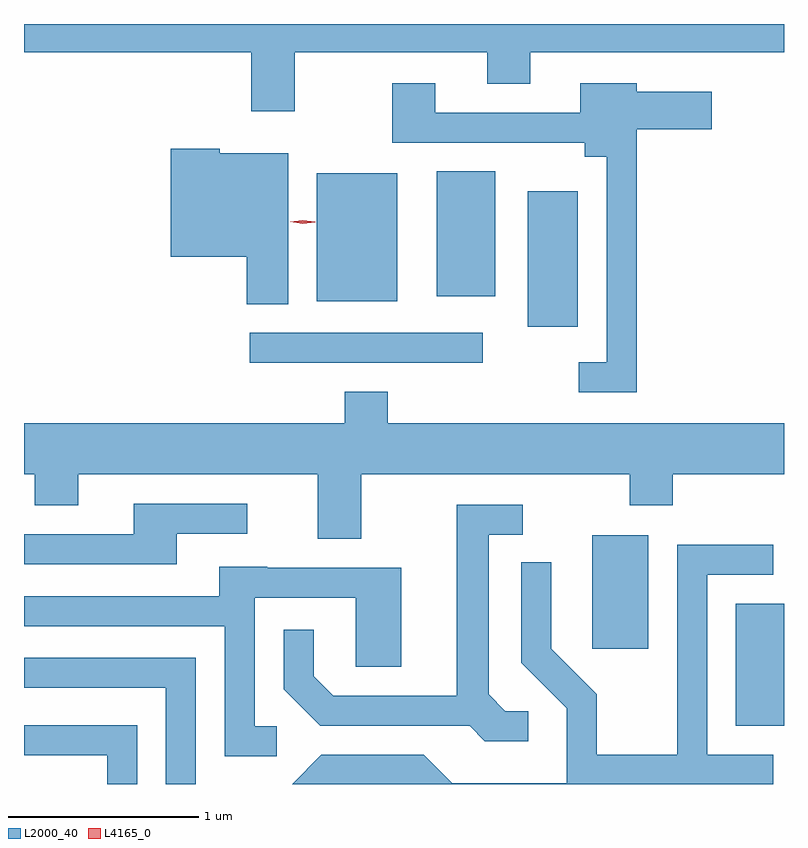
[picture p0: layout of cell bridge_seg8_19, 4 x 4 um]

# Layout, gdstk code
import gdstk
lib = gdstk.Library(unit=1e-6, precision=1e-09)
def R(c, l, rs):  # rectangles x0, y0, x1, y1
    for r in rs: c.add(gdstk.rectangle(r[:2], r[2:], *l))
def P(c, l, *ps):  # polygons
    for p in ps: c.add(gdstk.Polygon(p, *l))
L2000_40 = (2000, 40)
L4165_0 = (4165, 0)

bridge_seg8_19 = lib.new_cell('bridge_seg8_19')
R(bridge_seg8_19, L2000_40, [(1805.911,1875.051,1806.164,1875.694), (1805.156,1875.456,1805.449,1876.054), (1803.353,1876.961,1804.578,1877.119), (1804.816,1877.151,1805.079,1877.864), (1803.706,1877.286,1804.129,1877.959), (1804.336,1877.311,1804.644,1877.969)])
P(bridge_seg8_19, L2000_40, [(1803.589,1878.596),(1804.601,1878.596),(1804.601,1878.431),(1804.829,1878.431),(1804.829,1878.596),(1806.164,1878.596),(1806.164,1878.745),(1802.164,1878.745),(1802.164,1878.596),(1803.361,1878.596),(1803.361,1878.286),(1803.589,1878.286)],
  [(1805.389,1878.191),(1805.784,1878.191),(1805.784,1878.389),(1805.389,1878.389),(1805.389,1878.434),(1805.091,1878.434),(1805.091,1878.279),(1804.329,1878.279),(1804.329,1878.434),(1804.101,1878.434),(1804.101,1878.121),(1805.116,1878.121),(1805.116,1878.046),(1805.231,1878.046),(1805.231,1876.964),(1805.083,1876.964),(1805.083,1876.806),(1805.389,1876.806)],
  [(1803.554,1878.064),(1803.194,1878.064),(1803.194,1878.089),(1802.936,1878.089),(1802.936,1877.521),(1803.336,1877.521),(1803.336,1877.271),(1803.554,1877.271)],
  [(1803.939,1876.376),(1805.351,1876.376),(1805.351,1876.211),(1805.579,1876.211),(1805.579,1876.376),(1806.164,1876.376),(1806.164,1876.644),(1804.079,1876.644),(1804.079,1876.809),(1803.851,1876.809),(1803.851,1876.644),(1802.164,1876.644),(1802.164,1876.376),(1802.221,1876.376),(1802.221,1876.211),(1802.449,1876.211),(1802.449,1876.376),(1803.711,1876.376),(1803.711,1876.036),(1803.939,1876.036)],
  [(1802.969,1876.061),(1803.338,1876.061),(1803.338,1876.219),(1802.741,1876.219),(1802.741,1876.059),(1802.164,1876.059),(1802.164,1875.901),(1802.969,1875.901)],
  [(1804.818,1875.129),(1804.697,1875.129),(1804.609,1875.217),(1804.609,1876.056),(1804.788,1876.056),(1804.788,1876.214),(1804.441,1876.214),(1804.441,1875.209),(1803.792,1875.209),(1803.689,1875.312),(1803.689,1875.558),(1803.531,1875.558),(1803.531,1875.244),(1803.724,1875.051),(1804.509,1875.051),(1804.589,1874.971),(1804.818,1874.971)],
  [(1806.108,1874.899),(1805.759,1874.899),(1805.759,1875.846),(1806.108,1875.846),(1806.108,1876.004),(1805.601,1876.004),(1805.601,1874.899),(1805.179,1874.899),(1805.179,1875.217),(1804.939,1875.457),(1804.939,1875.913),(1804.781,1875.913),(1804.781,1875.384),(1805.021,1875.144),(1805.021,1874.749),(1804.417,1874.749),(1804.267,1874.899),(1803.729,1874.899),(1803.575,1874.745),(1806.108,1874.745)],
  [(1803.493,1875.049),(1803.379,1875.049),(1803.379,1875.726),(1803.911,1875.726),(1803.911,1875.361),(1804.149,1875.361),(1804.149,1875.884),(1803.445,1875.884),(1803.445,1875.889),(1803.191,1875.889),(1803.191,1875.734),(1802.164,1875.734),(1802.164,1875.576),(1803.221,1875.576),(1803.221,1874.891),(1803.493,1874.891)],
  [(1803.069,1875.409),(1802.164,1875.409),(1802.164,1875.251),(1802.911,1875.251),(1802.911,1874.745),(1803.069,1874.745)],
  [(1802.759,1875.054),(1802.164,1875.054),(1802.164,1874.896),(1802.601,1874.896),(1802.601,1874.745),(1802.759,1874.745)])
P(bridge_seg8_19, L4165_0, [(1803.63,1877.693),(1803.564,1877.703),(1803.564,1877.704),(1803.564,1877.704),(1803.63,1877.713),(1803.696,1877.703),(1803.696,1877.702),(1803.696,1877.702)])

lib.write_gds('bridge_seg8_19.gds')
